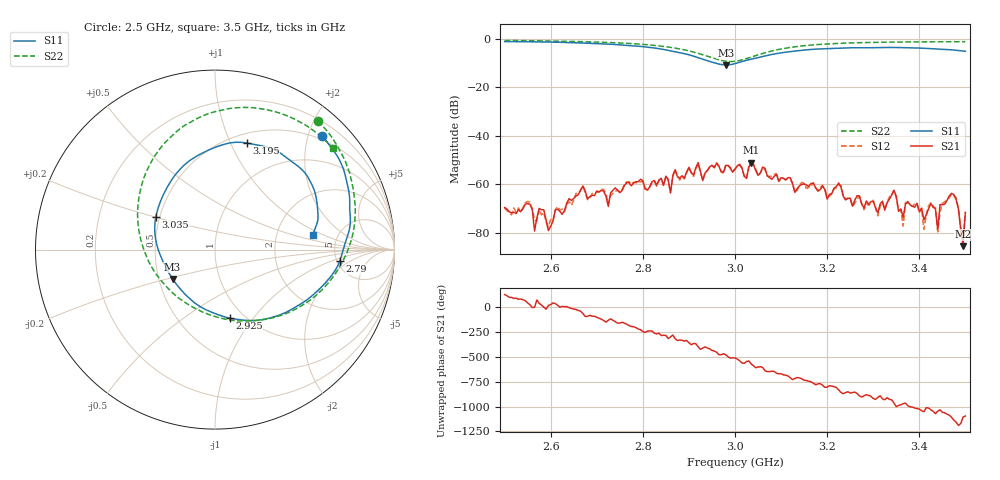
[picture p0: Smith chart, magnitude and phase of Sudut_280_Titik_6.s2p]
# Hz S RI R 50
! CMT, C1220, 16058040, 17.2.0/1
! Date: 15/08/2018 10:19:34
! Data: Format (Calibration Info)
! Freq  S11: Re/Im (F2)  S21: Re/Im (F2)  S12: Re/Im (F2)  S22: Re/Im (F2)
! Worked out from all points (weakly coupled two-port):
!   201 points, 2.5 GHz to 3.5 GHz, reference 50 ohm
!   highest |S21| = -51.15 dB at 3.035 GHz (marker M1); lowest = -85.6 dB at 3.495 GHz (marker M2)
!   lowest |S11| = -10.8 dB at 2.98 GHz (marker M3), VSWR 1.81, Z = 29.5 - j10.5 ohm
!   |S11| at or under -10 dB: 2.956 GHz to 3.005 GHz (49.34 MHz wide, 1.66 % of centre)
!   |S22| runs from -9.4 to -0.7 dB; largest |S21 - S12| = 0.0002
!   S11 on the Smith chart (normalised r, x): 2.5 GHz: 0.43, +2.24; 2.79 GHz: 5.28, -1.31; 2.925 GHz: 0.86, -0.77; 3.035 GHz: 0.48, +0.20; 3.195 GHz: 0.60, +1.15; 3.5 GHz: 3.25, +0.75
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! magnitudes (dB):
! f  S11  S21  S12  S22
! 2.5 GHz  -1.2  -69.7  -70.0  -0.7
! 2.595 GHz  -1.4  -79.2  -77.6  -1.0
! 2.67 GHz  -1.8  -60.8  -60.9  -1.2
! 2.725 GHz  -2.3  -69.2  -68.2  -1.6
! 2.79 GHz  -3.1  -59.0  -59.6  -2.2
! 2.835 GHz  -4.1  -58.3  -58.5  -3.0
! 2.925 GHz  -8.2  -54.8  -55.1  -6.3
! 2.98 GHz  -10.8  -52.3  -52.3  -9.3
! 3 GHz  -10.3  -53.9  -53.7  -9.4
! 3.035 GHz  -8.5  -51.2  -51.2  -7.6
! 3.17 GHz  -4.4  -59.7  -59.4  -2.6
! 3.195 GHz  -4.2  -62.2  -62.0  -2.2
! 3.31 GHz  -3.7  -71.9  -73.1  -1.5
! 3.335 GHz  -3.6  -66.3  -65.4  -1.4
! 3.365 GHz  -3.7  -73.7  -77.3  -1.4
! 3.405 GHz  -3.9  -70.0  -69.9  -1.3
! 3.41 GHz  -4.0  -74.8  -78.6  -1.3
! 3.425 GHz  -4.1  -68.1  -67.8  -1.3
! 3.44 GHz  -4.3  -78.7  -79.7  -1.3
! 3.47 GHz  -4.6  -63.8  -64.1  -1.3
! 3.495 GHz  -5.1  -85.6  -81.2  -1.3
! 3.5 GHz  -5.2  -71.6  -71.5  -1.3
